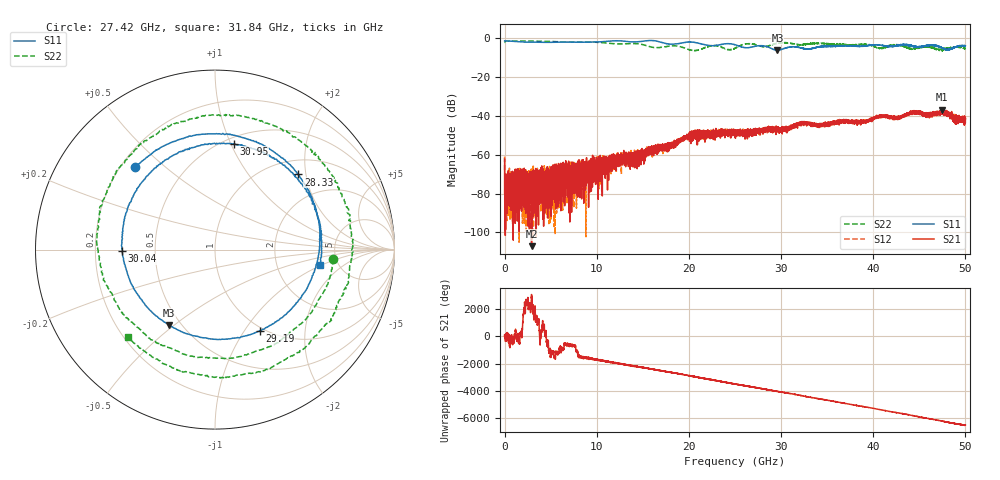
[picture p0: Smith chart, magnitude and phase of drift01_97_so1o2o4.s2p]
!Created with skrf (http://scikit-rf.org).
# Hz S RI R 50.0
!freq ReS11 ImS11 ReS21 ImS21 ReS12 ImS12 ReS22 ImS22
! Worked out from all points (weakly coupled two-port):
!   10001 points, 300 kHz to 50 GHz, reference 50 ohm
!   highest |S21| = -36.84 dB at 47.47 GHz (marker M1); lowest = -107.1 dB at 2.925 GHz (marker M2)
!   lowest |S11| = -6.2 dB at 29.61 GHz (marker M3), VSWR 2.93, Z = 21.7 - j23.9 ohm
!   |S11| at or under -10 dB: nowhere
!   |S22| runs from -6.5 to -1.4 dB; largest |S21 - S12| = 0.0037
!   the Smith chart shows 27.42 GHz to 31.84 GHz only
!   S11 on the Smith chart (normalised r, x): 27.42 GHz: 0.26, +0.40; 28.33 GHz: 1.32, +1.81; 29.19 GHz: 0.95, -1.18; 30.04 GHz: 0.32, -0.01; 30.95 GHz: 0.56, +1.03; 31.84 GHz: 3.61, -0.94
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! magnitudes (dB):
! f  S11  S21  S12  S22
! 300 kHz  -1.3  -62.2  -61.0  -2.1
! 260.3 MHz  -1.4  -78.2  -90.4  -1.4
! 2.925 GHz  -2.0  -107.1  -73.6  -1.4
! 4.045 GHz  -2.0  -73.4  -73.9  -1.5
! 8.335 GHz  -2.0  -70.5  -70.2  -1.8
! 16.67 GHz  -1.6  -55.7  -56.9  -4.8
! 18.62 GHz  -2.9  -54.0  -53.5  -3.9
! 20.52 GHz  -2.0  -49.7  -49.3  -6.3
! 22.6 GHz  -3.8  -48.8  -48.7  -3.8
! 25 GHz  -3.3  -48.3  -49.8  -5.1
! 27.42 GHz  -3.9  -47.8  -48.3  -3.6
! 28.33 GHz  -4.1  -46.9  -46.4  -4.3
! 29.19 GHz  -5.7  -46.7  -46.8  -3.1
! 29.61 GHz  -6.2  -46.4  -46.5  -2.5
! 30.04 GHz  -5.7  -47.2  -46.7  -2.3
! 30.95 GHz  -4.5  -45.8  -46.5  -2.5
! 31.84 GHz  -4.6  -44.0  -44.8  -3.2
! 33.34 GHz  -5.3  -43.7  -43.7  -2.5
! 41.67 GHz  -4.2  -40.8  -40.6  -4.4
! 44.52 GHz  -4.2  -37.4  -38.4  -5.5
! 47.47 GHz  -4.9  -36.8  -38.7  -6.2
! 50 GHz  -3.9  -41.3  -41.6  -5.4
